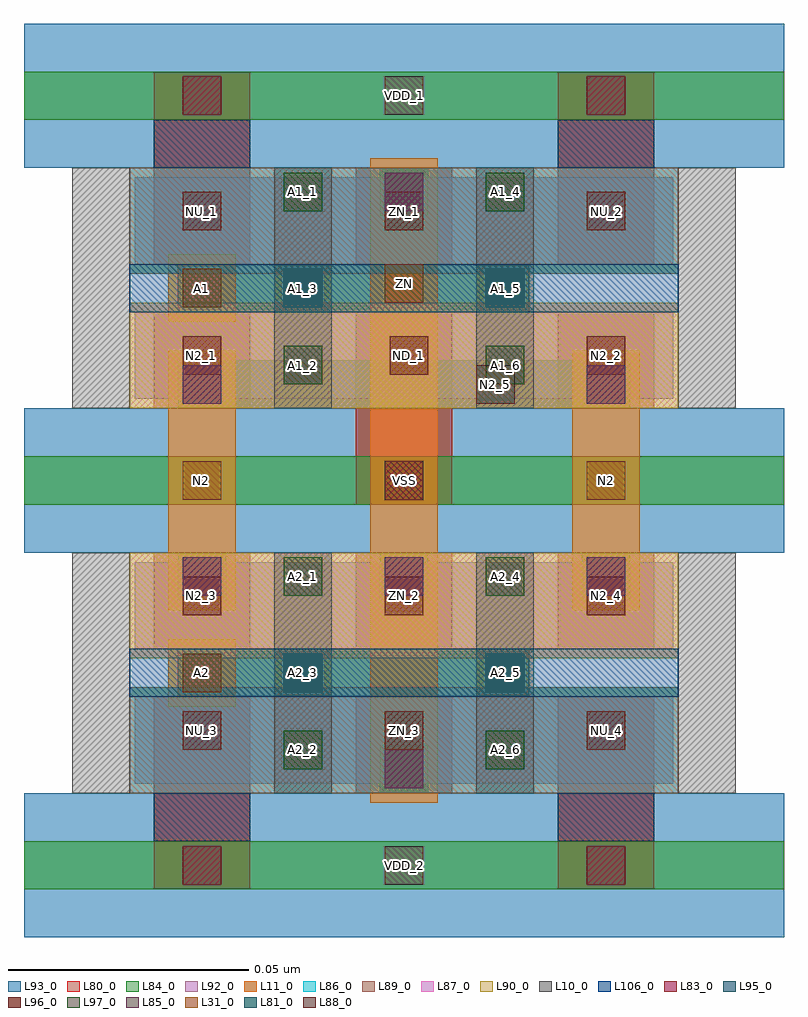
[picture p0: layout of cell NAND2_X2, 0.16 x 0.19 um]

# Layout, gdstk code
import gdstk
lib = gdstk.Library(unit=1e-6, precision=1e-09)
def R(c, l, rs):  # rectangles x0, y0, x1, y1
    for r in rs: c.add(gdstk.rectangle(r[:2], r[2:], *l))
def A(c, l, x, y, w, h, nx, ny, dx, dy):  # array of equal rectangles
    R(c, l, [(x+i*dx, y+j*dy, x+i*dx+w, y+j*dy+h) for i in range(nx) for j in range(ny)])
L10_0 = (10, 0)
L11_0 = (11, 0)
L31_0 = (31, 0)
L80_0 = (80, 0)
L81_0 = (81, 0)
L83_0 = (83, 0)
L84_0 = (84, 0)
L85_0 = (85, 0)
L86_0 = (86, 0)
L87_0 = (87, 0)
L88_0 = (88, 0)
L89_0 = (89, 0)
L90_0 = (90, 0)
L92_0 = (92, 0)
L93_0 = (93, 0)
L95_0 = (95, 0)
L96_0 = (96, 0)
L97_0 = (97, 0)
L106_0 = (106, 0)

nand2_x2 = lib.new_cell('NAND2_X2')
A(nand2_x2, L10_0, -0.027, -0.065, 0.012, 0.05, 4, 2, 0.042, 0.08)
A(nand2_x2, L11_0, -0.007, -0.027, 0.014, 0.034, 3, 2, 0.042, 0.02)
R(nand2_x2, L11_0, [(0.035,-0.067,0.049,-0.033), (-0.007,-0.047,0.007,-0.033), (0.035,-0.047,0.049,-0.013), (0.035,0.013,0.049,0.047), (-0.007,0.033,0.007,0.047), (0.035,0.033,0.049,0.067)])
A(nand2_x2, L31_0, -0.004, -0.044, 0.008, 0.008, 1, 3, 0, 0.04)
R(nand2_x2, L31_0, [(0.08,-0.004,0.088,0.004), (0.038,0.037,0.046,0.045)])
A(nand2_x2, L80_0, -0.01, -0.065, 0.02, 0.02, 3, 2, 0.042, 0.08)
R(nand2_x2, L80_0, [(-0.01,-0.085,0.01,-0.064), (0.074,-0.085,0.094,-0.064), (-0.01,-0.035,0.01,-0.015), (-0.01,-0.035,0.01,-0.015), (0.032,-0.035,0.052,-0.015), (0.032,-0.035,0.052,-0.015), (0.074,-0.035,0.094,-0.015), (0.074,-0.035,0.094,-0.015), (0.032,-0.005,0.052,0.016), (-0.01,0.045,0.01,0.065), (-0.01,0.045,0.01,0.065), (0.032,0.045,0.052,0.065), (0.032,0.045,0.052,0.065), (0.074,0.045,0.094,0.065), (0.074,0.045,0.094,0.065), (-0.01,0.056,0.01,0.085), (0.074,0.056,0.094,0.085)])
R(nand2_x2, L81_0, [(0.017,-0.044,0.025,-0.036), (0.059,-0.044,0.067,-0.036), (0.017,0.036,0.025,0.044), (0.059,0.036,0.067,0.044)])
A(nand2_x2, L83_0, 0.038, -0.064, 0.008, 0.008, 1, 3, 0, 0.06)
A(nand2_x2, L83_0, -0.004, -0.024, 0.008, 0.008, 3, 1, 0.042, 0)
R(nand2_x2, L83_0, [(-0.004,-0.084,0.004,-0.076), (0.08,-0.084,0.088,-0.076), (-0.004,0.016,0.004,0.024), (0.08,0.016,0.088,0.024), (0.038,0.056,0.046,0.064), (0.038,0.056,0.046,0.064), (0.038,0.056,0.046,0.064), (-0.004,0.076,0.004,0.084), (0.08,0.076,0.088,0.084)])
A(nand2_x2, L84_0, -0.037, -0.085, 0.158, 0.01, 1, 3, 0, 0.08)
A(nand2_x2, L84_0, -0.005, -0.025, 0.01, 0.01, 3, 1, 0.042, 0)
A(nand2_x2, L84_0, -0.005, 0.015, 0.031, 0.01, 4, 1, 0.021, 0)
R(nand2_x2, L84_0, [(0.037,-0.065,0.047,-0.055), (-0.005,-0.045,0.047,-0.035), (0.037,-0.045,0.068,-0.035), (-0.005,0.035,0.047,0.045), (0.037,0.035,0.068,0.045), (0.037,0.055,0.047,0.065)])
A(nand2_x2, L85_0, -0.004, -0.024, 0.008, 0.008, 3, 1, 0.042, 0)
R(nand2_x2, L85_0, [(0.038,-0.064,0.046,-0.056), (-0.004,-0.044,0.004,-0.036), (-0.004,0.016,0.004,0.024), (0.08,0.016,0.088,0.024), (-0.004,0.036,0.004,0.044), (0.038,0.056,0.046,0.064)])
R(nand2_x2, L86_0, [(-0.015,-0.065,0.099,-0.043), (-0.015,0.043,0.099,0.065)])
R(nand2_x2, L87_0, [(-0.015,-0.037,0.099,-0.015), (-0.015,0.015,0.099,0.037)])
A(nand2_x2, L88_0, 0.038, -0.084, 0.008, 0.008, 1, 3, 0, 0.08)
R(nand2_x2, L88_0, [(0.057,0.016,0.065,0.024)])
R(nand2_x2, L89_0, [(-0.015,-0.065,0.099,-0.043), (-0.015,0.043,0.099,0.065)])
R(nand2_x2, L90_0, [(-0.015,-0.037,0.099,-0.015), (-0.015,0.015,0.099,0.037)])
R(nand2_x2, L92_0, [(-0.014,-0.063,0.098,-0.045), (-0.014,-0.035,0.098,-0.017), (-0.014,0.017,0.098,0.035), (-0.014,0.045,0.098,0.063)])
A(nand2_x2, L93_0, -0.037, -0.095, 0.158, 0.03, 1, 3, 0, 0.08)
R(nand2_x2, L95_0, [(-0.01,-0.075,0.01,-0.065), (0.074,-0.075,0.094,-0.065), (-0.01,0.065,0.01,0.075), (0.074,0.065,0.094,0.075)])
A(nand2_x2, L96_0, -0.004, -0.056, 0.008, 0.008, 3, 2, 0.042, 0.028)
A(nand2_x2, L96_0, -0.004, 0.052, 0.008, 0.008, 3, 1, 0.042, 0)
R(nand2_x2, L96_0, [(-0.004,0.022,0.004,0.03), (0.039,0.022,0.047,0.03), (0.08,0.022,0.088,0.03)])
R(nand2_x2, L97_0, [(0.017,-0.06,0.025,-0.052), (0.059,-0.06,0.067,-0.052), (0.017,-0.044,0.025,-0.036), (0.059,-0.044,0.067,-0.036), (0.017,-0.024,0.025,-0.016), (0.059,-0.024,0.067,-0.016), (0.017,0.02,0.025,0.028), (0.059,0.02,0.067,0.028), (0.017,0.036,0.025,0.044), (0.059,0.036,0.067,0.044), (0.017,0.056,0.025,0.064), (0.059,0.056,0.067,0.064)])
R(nand2_x2, L106_0, [(-0.015,-0.045,0.099,-0.035), (-0.015,0.035,0.099,0.045)])
nand2_x2.add(gdstk.Label('N2_5', (0.061,0.02), layer=88, texttype=0))
nand2_x2.add(gdstk.Label('VDD_2', (0.042,-0.08), layer=88, texttype=0))
nand2_x2.add(gdstk.Label('VSS', (0.042,0), layer=88, texttype=0))
nand2_x2.add(gdstk.Label('VDD_1', (0.042,0.08), layer=88, texttype=0))
nand2_x2.add(gdstk.Label('N2_4', (0.084,-0.024), layer=96, texttype=0))
nand2_x2.add(gdstk.Label('N2_2', (0.084,0.026), layer=96, texttype=0))
nand2_x2.add(gdstk.Label('N2_1', (0,0.026), layer=96, texttype=0))
nand2_x2.add(gdstk.Label('N2_3', (0,-0.024), layer=96, texttype=0))
nand2_x2.add(gdstk.Label('ND_1', (0.043,0.026), layer=96, texttype=0))
nand2_x2.add(gdstk.Label('ZN_2', (0.042,-0.024), layer=96, texttype=0))
nand2_x2.add(gdstk.Label('NU_4', (0.084,-0.052), layer=96, texttype=0))
nand2_x2.add(gdstk.Label('ZN_3', (0.042,-0.052), layer=96, texttype=0))
nand2_x2.add(gdstk.Label('NU_3', (0,-0.052), layer=96, texttype=0))
nand2_x2.add(gdstk.Label('NU_1', (0,0.056), layer=96, texttype=0))
nand2_x2.add(gdstk.Label('ZN_1', (0.042,0.056), layer=96, texttype=0))
nand2_x2.add(gdstk.Label('NU_2', (0.084,0.056), layer=96, texttype=0))
nand2_x2.add(gdstk.Label('ZN', (0.042,0.041), layer=31, texttype=0))
nand2_x2.add(gdstk.Label('A2', (0,-0.04), layer=31, texttype=0))
nand2_x2.add(gdstk.Label('A1', (0,0.04), layer=31, texttype=0))
nand2_x2.add(gdstk.Label('N2', (0.084,0), layer=31, texttype=0))
nand2_x2.add(gdstk.Label('N2', (0,0), layer=31, texttype=0))
nand2_x2.add(gdstk.Label('A2_3', (0.021,-0.04), layer=97, texttype=0))
nand2_x2.add(gdstk.Label('A2_2', (0.021,-0.056), layer=97, texttype=0))
nand2_x2.add(gdstk.Label('A2_1', (0.021,-0.02), layer=97, texttype=0))
nand2_x2.add(gdstk.Label('A2_4', (0.063,-0.02), layer=97, texttype=0))
nand2_x2.add(gdstk.Label('A2_6', (0.063,-0.056), layer=97, texttype=0))
nand2_x2.add(gdstk.Label('A2_5', (0.063,-0.04), layer=97, texttype=0))
nand2_x2.add(gdstk.Label('A1_5', (0.063,0.04), layer=97, texttype=0))
nand2_x2.add(gdstk.Label('A1_6', (0.063,0.024), layer=97, texttype=0))
nand2_x2.add(gdstk.Label('A1_1', (0.021,0.06), layer=97, texttype=0))
nand2_x2.add(gdstk.Label('A1_2', (0.021,0.024), layer=97, texttype=0))
nand2_x2.add(gdstk.Label('A1_3', (0.021,0.04), layer=97, texttype=0))
nand2_x2.add(gdstk.Label('A1_4', (0.063,0.06), layer=97, texttype=0))

lib.write_gds('NAND2_X2.gds')
